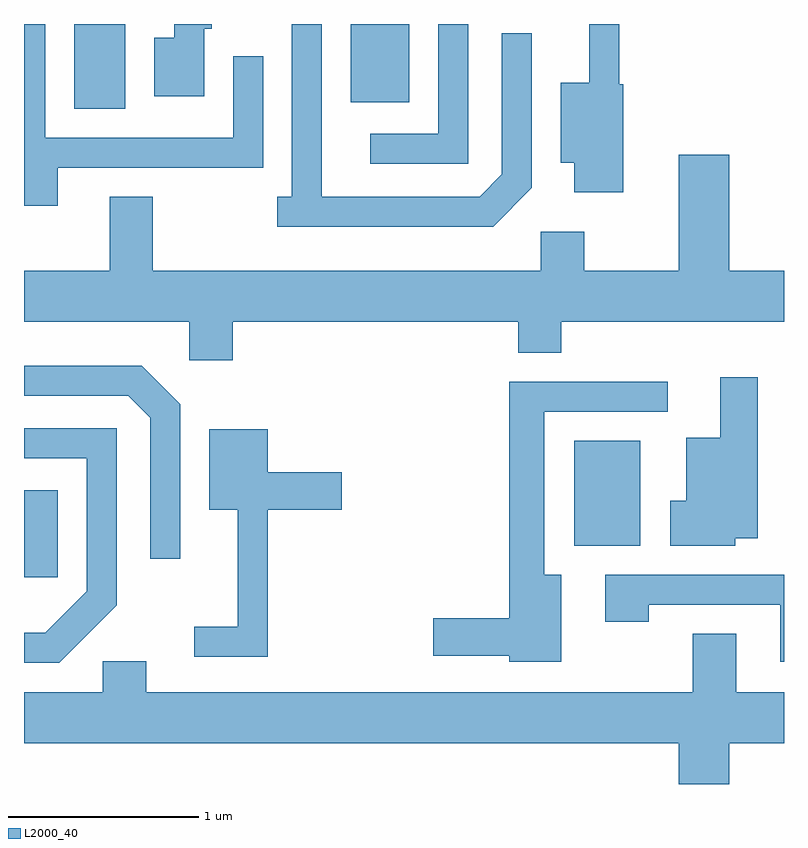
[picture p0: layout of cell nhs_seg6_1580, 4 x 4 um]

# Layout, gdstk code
import gdstk
lib = gdstk.Library(unit=1e-6, precision=1e-09)
def R(c, l, rs):  # rectangles x0, y0, x1, y1
    for r in rs: c.add(gdstk.rectangle(r[:2], r[2:], *l))
def P(c, l, *ps):  # polygons
    for p in ps: c.add(gdstk.Polygon(p, *l))
L2000_40 = (2000, 40)

nhs_seg6_1580 = lib.new_cell('nhs_seg6_1580')
R(nhs_seg6_1580, L2000_40, [(231.611,1655.251,231.789,1655.709), (234.506,1655.416,234.854,1655.969), (231.876,1657.716,232.144,1658.162), (233.331,1657.751,233.639,1658.162)])
P(nhs_seg6_1580, L2000_40, [(231.789,1657.406),(232.869,1657.406),(232.869,1657.993),(232.711,1657.993),(232.711,1657.564),(231.724,1657.564),(231.724,1658.162),(231.611,1658.162),(231.611,1657.206),(231.789,1657.206)],
  [(234.764,1657.844),(234.744,1657.844),(234.744,1658.162),(234.586,1658.162),(234.586,1657.854),(234.436,1657.854),(234.436,1657.431),(234.506,1657.431),(234.506,1657.276),(234.764,1657.276)],
  [(234.284,1657.299),(234.284,1658.113),(234.126,1658.113),(234.126,1657.372),(234.009,1657.254),(233.179,1657.254),(233.179,1658.162),(233.021,1658.162),(233.021,1657.254),(232.943,1657.254),(232.943,1657.096),(234.082,1657.096)],
  [(232.559,1658.136),(232.599,1658.136),(232.599,1658.162),(232.401,1658.162),(232.401,1658.089),(232.296,1658.089),(232.296,1657.781),(232.559,1657.781)],
  [(233.949,1658.162),(233.791,1658.162),(233.791,1657.584),(233.433,1657.584),(233.433,1657.426),(233.949,1657.426)],
  [(235.611,1656.864),(235.324,1656.864),(235.324,1657.474),(235.056,1657.474),(235.056,1656.864),(234.559,1656.864),(234.559,1657.069),(234.331,1657.069),(234.331,1656.864),(232.289,1656.864),(232.289,1657.254),(232.061,1657.254),(232.061,1656.864),(231.611,1656.864),(231.611,1656.596),(232.481,1656.596),(232.481,1656.391),(232.709,1656.391),(232.709,1656.596),(234.211,1656.596),(234.211,1656.431),(234.439,1656.431),(234.439,1656.596),(235.611,1656.596)],
  [(232.434,1656.162),(232.232,1656.364),(231.611,1656.364),(231.611,1656.206),(232.159,1656.206),(232.276,1656.089),(232.276,1655.348),(232.434,1655.348)],
  [(235.354,1655.456),(235.474,1655.456),(235.474,1656.304),(235.276,1656.304),(235.276,1655.984),(235.096,1655.984),(235.096,1655.654),(235.011,1655.654),(235.011,1655.416),(235.354,1655.416)],
  [(234.439,1655.264),(234.349,1655.264),(234.349,1656.121),(234.998,1656.121),(234.998,1656.279),(234.166,1656.279),(234.166,1655.034),(233.766,1655.034),(233.766,1654.836),(234.166,1654.836),(234.166,1654.806),(234.439,1654.806)],
  [(232.099,1655.104),(232.099,1656.034),(231.611,1656.034),(231.611,1655.876),(231.941,1655.876),(231.941,1655.177),(231.724,1654.959),(231.611,1654.959),(231.611,1654.801),(231.797,1654.801)],
  [(232.894,1655.606),(233.284,1655.606),(233.284,1655.804),(232.894,1655.804),(232.894,1656.029),(232.586,1656.029),(232.586,1655.606),(232.736,1655.606),(232.736,1654.989),(232.508,1654.989),(232.508,1654.831),(232.894,1654.831)],
  [(235.611,1655.264),(234.671,1655.264),(234.671,1655.016),(234.899,1655.016),(234.899,1655.106),(235.591,1655.106),(235.591,1654.806),(235.611,1654.806)],
  [(235.324,1654.376),(235.611,1654.376),(235.611,1654.644),(235.359,1654.644),(235.359,1654.954),(235.131,1654.954),(235.131,1654.644),(232.254,1654.644),(232.254,1654.809),(232.026,1654.809),(232.026,1654.644),(231.611,1654.644),(231.611,1654.376),(235.056,1654.376),(235.056,1654.162),(235.324,1654.162)])

lib.write_gds('nhs_seg6_1580.gds')
